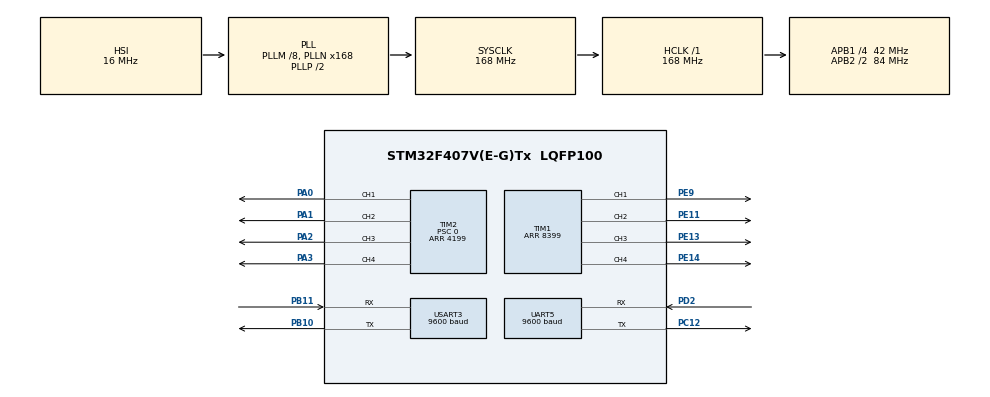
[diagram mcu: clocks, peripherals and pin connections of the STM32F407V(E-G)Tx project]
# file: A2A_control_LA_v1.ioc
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Mcu.Family=STM32F4
Mcu.Name=STM32F407V(E-G)Tx
Mcu.Package=LQFP100
NVIC.PriorityGroup=NVIC_PRIORITYGROUP_4
PA0-WKUP.Signal=S_TIM2_CH1_ETR
PA1.Signal=S_TIM2_CH2
PA2.Signal=S_TIM2_CH3
PA3.Signal=S_TIM2_CH4
PB10.Mode=Asynchronous
PB10.Signal=USART3_TX
PB11.Mode=Asynchronous
PB11.Signal=USART3_RX
PC12.Mode=Asynchronous
PC12.Signal=UART5_TX
PD2.Mode=Asynchronous
PD2.Signal=UART5_RX
PE11.Signal=S_TIM1_CH2
PE13.Signal=S_TIM1_CH3
PE14.Signal=S_TIM1_CH4
PE9.Signal=S_TIM1_CH1
ProjectManager.HeapSize=0x200
ProjectManager.StackSize=0x400
ProjectManager.TargetToolchain=STM32CubeIDE
RCC.48MHZClocksFreq_Value=84000000
RCC.AHBFreq_Value=168000000
RCC.APB1CLKDivider=RCC_HCLK_DIV4
RCC.APB1Freq_Value=42000000
RCC.APB1TimFreq_Value=84000000
RCC.APB2CLKDivider=RCC_HCLK_DIV2
RCC.APB2Freq_Value=84000000
RCC.APB2TimFreq_Value=168000000
RCC.CortexFreq_Value=168000000
RCC.HCLKFreq_Value=168000000
RCC.HSE_VALUE=25000000
RCC.HSI_VALUE=16000000
RCC.LSE_VALUE=32768
RCC.PLLM=8
RCC.PLLN=168
RCC.SYSCLKFreq_VALUE=168000000
RCC.SYSCLKSource=RCC_SYSCLKSOURCE_PLLCLK
RCC.VCOOutputFreq_Value=336000000
SH.S_TIM1_CH1.0=TIM1_CH1,PWM Generation1 CH1
SH.S_TIM1_CH2.0=TIM1_CH2,PWM Generation2 CH2
SH.S_TIM1_CH3.0=TIM1_CH3,PWM Generation3 CH3
SH.S_TIM1_CH4.0=TIM1_CH4,PWM Generation4 CH4
SH.S_TIM2_CH1_ETR.0=TIM2_CH1,PWM Generation1 CH1
SH.S_TIM2_CH2.0=TIM2_CH2,PWM Generation2 CH2
SH.S_TIM2_CH3.0=TIM2_CH3,PWM Generation3 CH3
SH.S_TIM2_CH4.0=TIM2_CH4,PWM Generation4 CH4
TIM1.AutoReloadPreload=TIM_AUTORELOAD_PRELOAD_ENABLE
TIM1.Channel-PWM\ Generation1\ CH1=TIM_CHANNEL_1
TIM1.Channel-PWM\ Generation2\ CH2=TIM_CHANNEL_2
TIM1.Channel-PWM\ Generation3\ CH3=TIM_CHANNEL_3
TIM1.Channel-PWM\ Generation4\ CH4=TIM_CHANNEL_4
TIM1.Period=8399
TIM2.AutoReloadPreload=TIM_AUTORELOAD_PRELOAD_ENABLE
TIM2.Channel-PWM\ Generation1\ CH1=TIM_CHANNEL_1
TIM2.Channel-PWM\ Generation2\ CH2=TIM_CHANNEL_2
TIM2.Channel-PWM\ Generation3\ CH3=TIM_CHANNEL_3
TIM2.Channel-PWM\ Generation4\ CH4=TIM_CHANNEL_4
TIM2.Period=4199
TIM2.Prescaler=0
UART5.BaudRate=9600
UART5.VirtualMode=Asynchronous
USART3.BaudRate=9600
USART3.VirtualMode=VM_ASYNC
VP_TIM1_VS_ClockSourceINT.Mode=Internal
VP_TIM2_VS_ClockSourceINT.Mode=Internal
board=custom

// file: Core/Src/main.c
/* USER CODE BEGIN Header */
/**
  ******************************************************************************
  * @file           : main.c
  * @brief          : Main program body
  ******************************************************************************
  * @attention
  *
  * Copyright (c) 2025 STMicroelectronics.
  * All rights reserved.
  *
  * This software is licensed under terms that can be found in the LICENSE file
  * in the root directory of this software component.
  * If no LICENSE file comes with this software, it is provided AS-IS.
  *
  ******************************************************************************
  */
/* USER CODE END Header */
#include "main.h"

/* USER CODE BEGIN Includes */
#include <string.h>
/* USER CODE END Includes */

TIM_HandleTypeDef htim1;
TIM_HandleTypeDef htim2;

UART_HandleTypeDef huart5;
UART_HandleTypeDef huart3;

/* USER CODE BEGIN PV */
#define PCT_DEFAULT 20
/* USER CODE END PV */

void SystemClock_Config(void);
static void MX_GPIO_Init(void);
static void MX_TIM1_Init(void);
static void MX_TIM2_Init(void);
static void MX_UART5_Init(void);
static void MX_USART3_UART_Init(void);
/* USER CODE BEGIN PFP */
void movimiento(char cmd, uint8_t pct);
/* USER CODE END PFP */

int main(void)
{

  /* MCU Configuration--------------------------------------------------------*/

  /* Reset of all peripherals, Initializes the Flash interface and the Systick. */
  HAL_Init();

  /* Configure the system clock */
  SystemClock_Config();

  /* Initialize all configured peripherals */
  MX_GPIO_Init();
  MX_TIM1_Init();
  MX_TIM2_Init();
  MX_UART5_Init();
  MX_USART3_UART_Init();
  /* USER CODE BEGIN 2 */
  HAL_TIM_PWM_Start_IT(&htim1, TIM_CHANNEL_1);
  HAL_TIM_PWM_Start_IT(&htim1, TIM_CHANNEL_2);
  HAL_TIM_PWM_Start_IT(&htim1, TIM_CHANNEL_3);
  HAL_TIM_PWM_Start_IT(&htim1, TIM_CHANNEL_4);
  __HAL_TIM_SET_COMPARE(&htim1, TIM_CHANNEL_1, 0);
  __HAL_TIM_SET_COMPARE(&htim1, TIM_CHANNEL_2, 0);
  __HAL_TIM_SET_COMPARE(&htim1, TIM_CHANNEL_3, 0);
  __HAL_TIM_SET_COMPARE(&htim1, TIM_CHANNEL_4, 0);

  HAL_TIM_PWM_Start_IT(&htim2, TIM_CHANNEL_1);
  HAL_TIM_PWM_Start_IT(&htim2, TIM_CHANNEL_2);
  HAL_TIM_PWM_Start_IT(&htim2, TIM_CHANNEL_3);
  HAL_TIM_PWM_Start_IT(&htim2, TIM_CHANNEL_4);
  __HAL_TIM_SET_COMPARE(&htim2, TIM_CHANNEL_1, 0);
  __HAL_TIM_SET_COMPARE(&htim2, TIM_CHANNEL_2, 0);
  __HAL_TIM_SET_COMPARE(&htim2, TIM_CHANNEL_3, 0);
  __HAL_TIM_SET_COMPARE(&htim2, TIM_CHANNEL_4, 0);

  /* Estado inicial: detenido */
  movimiento('e', 0);
  /* USER CODE END 2 */

  /* Infinite loop */
  /* USER CODE BEGIN WHILE */
  while (1)
  {
	  char rx;
	      if (HAL_UART_Receive(&huart5, (uint8_t*)&rx, 1, HAL_MAX_DELAY) == HAL_OK)
	      {
	          movimiento(rx, PCT_DEFAULT);

	          // eco en Bluetooth (UART5)
	          (void)HAL_UART_Transmit(&huart5, (uint8_t*)&rx, 1, 50);

	          // reenvío por UART1 (115200)
	          (void)HAL_UART_Transmit(&huart3, (uint8_t*)&rx, 1, 50);
	      }
    /* USER CODE END WHILE */

  }
}

void SystemClock_Config(void)
{
  RCC_OscInitTypeDef RCC_OscInitStruct = {0};
  RCC_ClkInitTypeDef RCC_ClkInitStruct = {0};

  /** Configure the main internal regulator output voltage
  */
  __HAL_RCC_PWR_CLK_ENABLE();
  __HAL_PWR_VOLTAGESCALING_CONFIG(PWR_REGULATOR_VOLTAGE_SCALE1);

  /** Initializes the RCC Oscillators according to the specified parameters
  * in the RCC_OscInitTypeDef structure.
  */
  RCC_OscInitStruct.OscillatorType = RCC_OSCILLATORTYPE_HSI;
  RCC_OscInitStruct.HSIState = RCC_HSI_ON;
  RCC_OscInitStruct.HSICalibrationValue = RCC_HSICALIBRATION_DEFAULT;
  RCC_OscInitStruct.PLL.PLLState = RCC_PLL_ON;
  RCC_OscInitStruct.PLL.PLLSource = RCC_PLLSOURCE_HSI;
  RCC_OscInitStruct.PLL.PLLM = 8;
  RCC_OscInitStruct.PLL.PLLN = 168;
  RCC_OscInitStruct.PLL.PLLP = RCC_PLLP_DIV2;
  RCC_OscInitStruct.PLL.PLLQ = 4;
  if (HAL_RCC_OscConfig(&RCC_OscInitStruct) != HAL_OK)
  {
    Error_Handler();
  }

  /** Initializes the CPU, AHB and APB buses clocks
  */
  RCC_ClkInitStruct.ClockType = RCC_CLOCKTYPE_HCLK|RCC_CLOCKTYPE_SYSCLK
                              |RCC_CLOCKTYPE_PCLK1|RCC_CLOCKTYPE_PCLK2;
  RCC_ClkInitStruct.SYSCLKSource = RCC_SYSCLKSOURCE_PLLCLK;
  RCC_ClkInitStruct.AHBCLKDivider = RCC_SYSCLK_DIV1;
  RCC_ClkInitStruct.APB1CLKDivider = RCC_HCLK_DIV4;
  RCC_ClkInitStruct.APB2CLKDivider = RCC_HCLK_DIV2;

  if (HAL_RCC_ClockConfig(&RCC_ClkInitStruct, FLASH_LATENCY_5) != HAL_OK)
  {
    Error_Handler();
  }
}

static void MX_TIM1_Init(void)
{

  TIM_ClockConfigTypeDef sClockSourceConfig = {0};
  TIM_MasterConfigTypeDef sMasterConfig = {0};
  TIM_OC_InitTypeDef sConfigOC = {0};
  TIM_BreakDeadTimeConfigTypeDef sBreakDeadTimeConfig = {0};

  htim1.Instance = TIM1;
  htim1.Init.Prescaler = 0;
  htim1.Init.CounterMode = TIM_COUNTERMODE_UP;
  htim1.Init.Period = 8399;
  htim1.Init.ClockDivision = TIM_CLOCKDIVISION_DIV1;
  htim1.Init.RepetitionCounter = 0;
  htim1.Init.AutoReloadPreload = TIM_AUTORELOAD_PRELOAD_ENABLE;
  if (HAL_TIM_Base_Init(&htim1) != HAL_OK)
  {
    Error_Handler();
  }
  sClockSourceConfig.ClockSource = TIM_CLOCKSOURCE_INTERNAL;
  if (HAL_TIM_ConfigClockSource(&htim1, &sClockSourceConfig) != HAL_OK)
  {
    Error_Handler();
  }
  if (HAL_TIM_PWM_Init(&htim1) != HAL_OK)
  {
    Error_Handler();
  }
  sMasterConfig.MasterOutputTrigger = TIM_TRGO_RESET;
  sMasterConfig.MasterSlaveMode = TIM_MASTERSLAVEMODE_DISABLE;
  if (HAL_TIMEx_MasterConfigSynchronization(&htim1, &sMasterConfig) != HAL_OK)
  {
    Error_Handler();
  }
  sConfigOC.OCMode = TIM_OCMODE_PWM1;
  sConfigOC.Pulse = 0;
  sConfigOC.OCPolarity = TIM_OCPOLARITY_HIGH;
  sConfigOC.OCNPolarity = TIM_OCNPOLARITY_HIGH;
  sConfigOC.OCFastMode = TIM_OCFAST_DISABLE;
  sConfigOC.OCIdleState = TIM_OCIDLESTATE_RESET;
  sConfigOC.OCNIdleState = TIM_OCNIDLESTATE_RESET;
  if (HAL_TIM_PWM_ConfigChannel(&htim1, &sConfigOC, TIM_CHANNEL_1) != HAL_OK)
  {
    Error_Handler();
  }
  if (HAL_TIM_PWM_ConfigChannel(&htim1, &sConfigOC, TIM_CHANNEL_2) != HAL_OK)
  {
    Error_Handler();
  }
  if (HAL_TIM_PWM_ConfigChannel(&htim1, &sConfigOC, TIM_CHANNEL_3) != HAL_OK)
  {
    Error_Handler();
  }
  if (HAL_TIM_PWM_ConfigChannel(&htim1, &sConfigOC, TIM_CHANNEL_4) != HAL_OK)
  {
    Error_Handler();
  }
  sBreakDeadTimeConfig.OffStateRunMode = TIM_OSSR_DISABLE;
  sBreakDeadTimeConfig.OffStateIDLEMode = TIM_OSSI_DISABLE;
  sBreakDeadTimeConfig.LockLevel = TIM_LOCKLEVEL_OFF;
  sBreakDeadTimeConfig.DeadTime = 0;
  sBreakDeadTimeConfig.BreakState = TIM_BREAK_DISABLE;
  sBreakDeadTimeConfig.BreakPolarity = TIM_BREAKPOLARITY_HIGH;
  sBreakDeadTimeConfig.AutomaticOutput = TIM_AUTOMATICOUTPUT_DISABLE;
  if (HAL_TIMEx_ConfigBreakDeadTime(&htim1, &sBreakDeadTimeConfig) != HAL_OK)
  {
    Error_Handler();
  }
  HAL_TIM_MspPostInit(&htim1);

}

static void MX_TIM2_Init(void)
{

  TIM_ClockConfigTypeDef sClockSourceConfig = {0};
  TIM_MasterConfigTypeDef sMasterConfig = {0};
  TIM_OC_InitTypeDef sConfigOC = {0};

  htim2.Instance = TIM2;
  htim2.Init.Prescaler = 0;
  htim2.Init.CounterMode = TIM_COUNTERMODE_UP;
  htim2.Init.Period = 4199;
  htim2.Init.ClockDivision = TIM_CLOCKDIVISION_DIV1;
  htim2.Init.AutoReloadPreload = TIM_AUTORELOAD_PRELOAD_ENABLE;
  if (HAL_TIM_Base_Init(&htim2) != HAL_OK)
  {
    Error_Handler();
  }
  sClockSourceConfig.ClockSource = TIM_CLOCKSOURCE_INTERNAL;
  if (HAL_TIM_ConfigClockSource(&htim2, &sClockSourceConfig) != HAL_OK)
  {
    Error_Handler();
  }
  if (HAL_TIM_PWM_Init(&htim2) != HAL_OK)
  {
    Error_Handler();
  }
  sMasterConfig.MasterOutputTrigger = TIM_TRGO_RESET;
  sMasterConfig.MasterSlaveMode = TIM_MASTERSLAVEMODE_DISABLE;
  if (HAL_TIMEx_MasterConfigSynchronization(&htim2, &sMasterConfig) != HAL_OK)
  {
    Error_Handler();
  }
  sConfigOC.OCMode = TIM_OCMODE_PWM1;
  sConfigOC.Pulse = 0;
  sConfigOC.OCPolarity = TIM_OCPOLARITY_HIGH;
  sConfigOC.OCFastMode = TIM_OCFAST_DISABLE;
  if (HAL_TIM_PWM_ConfigChannel(&htim2, &sConfigOC, TIM_CHANNEL_1) != HAL_OK)
  {
    Error_Handler();
  }
  if (HAL_TIM_PWM_ConfigChannel(&htim2, &sConfigOC, TIM_CHANNEL_2) != HAL_OK)
  {
    Error_Handler();
  }
  if (HAL_TIM_PWM_ConfigChannel(&htim2, &sConfigOC, TIM_CHANNEL_3) != HAL_OK)
  {
    Error_Handler();
  }
  if (HAL_TIM_PWM_ConfigChannel(&htim2, &sConfigOC, TIM_CHANNEL_4) != HAL_OK)
  {
    Error_Handler();
  }
  HAL_TIM_MspPostInit(&htim2);

}

static void MX_UART5_Init(void)
{

  huart5.Instance = UART5;
  huart5.Init.BaudRate = 9600;
  huart5.Init.WordLength = UART_WORDLENGTH_8B;
  huart5.Init.StopBits = UART_STOPBITS_1;
  huart5.Init.Parity = UART_PARITY_NONE;
  huart5.Init.Mode = UART_MODE_TX_RX;
  huart5.Init.HwFlowCtl = UART_HWCONTROL_NONE;
  huart5.Init.OverSampling = UART_OVERSAMPLING_16;
  if (HAL_UART_Init(&huart5) != HAL_OK)
  {
    Error_Handler();
  }

}

static void MX_USART3_UART_Init(void)
{

  huart3.Instance = USART3;
  huart3.Init.BaudRate = 9600;
  huart3.Init.WordLength = UART_WORDLENGTH_8B;
  huart3.Init.StopBits = UART_STOPBITS_1;
  huart3.Init.Parity = UART_PARITY_NONE;
  huart3.Init.Mode = UART_MODE_TX_RX;
  huart3.Init.HwFlowCtl = UART_HWCONTROL_NONE;
  huart3.Init.OverSampling = UART_OVERSAMPLING_16;
  if (HAL_UART_Init(&huart3) != HAL_OK)
  {
    Error_Handler();
  }

}

static void MX_GPIO_Init(void)
{

  /* GPIO Ports Clock Enable */
  __HAL_RCC_GPIOA_CLK_ENABLE();
  __HAL_RCC_GPIOE_CLK_ENABLE();
  __HAL_RCC_GPIOB_CLK_ENABLE();
  __HAL_RCC_GPIOC_CLK_ENABLE();
  __HAL_RCC_GPIOD_CLK_ENABLE();

}

/* USER CODE BEGIN 4 */
static inline uint16_t pct_to_ccr(TIM_HandleTypeDef *htim, uint8_t pct)
{
  if (pct > 100) pct = 100;
  uint32_t arr = __HAL_TIM_GET_AUTORELOAD(htim);   // Period (ARR)
  // CCR en rango [0..ARR]. 100% → ARR (duty continuo).
  uint32_t ccr = (arr * (uint32_t)pct) / 100U;
  if (ccr > arr) ccr = arr;
  return (uint16_t)ccr;
}

void movimiento(char str, uint8_t pct)
{
  /* Calcula CCR para cada timer de forma independiente */
  const uint16_t spd1 = pct_to_ccr(&htim1, pct);  // para TIM1
  const uint16_t spd2 = pct_to_ccr(&htim2, pct);  // para TIM2

  /* Primero, libera todos los motores (duty=0) */
  // Motor 1
  __HAL_TIM_SET_COMPARE(&htim1, TIM_CHANNEL_1, 0);
  __HAL_TIM_SET_COMPARE(&htim1, TIM_CHANNEL_2, 0);
  // Motor 2
  __HAL_TIM_SET_COMPARE(&htim1, TIM_CHANNEL_3, 0);
  __HAL_TIM_SET_COMPARE(&htim1, TIM_CHANNEL_4, 0);
  // Motor 3
  __HAL_TIM_SET_COMPARE(&htim2, TIM_CHANNEL_1, 0);
  __HAL_TIM_SET_COMPARE(&htim2, TIM_CHANNEL_2, 0);
  // Motor 4
  __HAL_TIM_SET_COMPARE(&htim2, TIM_CHANNEL_3, 0);
  __HAL_TIM_SET_COMPARE(&htim2, TIM_CHANNEL_4, 0);

  HAL_Delay(5);              // dead-time corto opcional
  if (str == 'e' || pct == 0) return;

  /* Adelante: 'b' */
  if (str == 'b')
  {
    // M1
    __HAL_TIM_SET_COMPARE(&htim1, TIM_CHANNEL_1, spd1);
    __HAL_TIM_SET_COMPARE(&htim1, TIM_CHANNEL_2, 0);
    // M2
    __HAL_TIM_SET_COMPARE(&htim1, TIM_CHANNEL_3, spd1);
    __HAL_TIM_SET_COMPARE(&htim1, TIM_CHANNEL_4, 0);
    // M3
    __HAL_TIM_SET_COMPARE(&htim2, TIM_CHANNEL_1, spd2);
    __HAL_TIM_SET_COMPARE(&htim2, TIM_CHANNEL_2, 0);
    // M4
    __HAL_TIM_SET_COMPARE(&htim2, TIM_CHANNEL_3, spd2);
    __HAL_TIM_SET_COMPARE(&htim2, TIM_CHANNEL_4, 0);
    return;
  }

  /* Atrás: 'h' */
  if (str == 'h')
  {
    __HAL_TIM_SET_COMPARE(&htim1, TIM_CHANNEL_1, 0);
    __HAL_TIM_SET_COMPARE(&htim1, TIM_CHANNEL_2, spd1);
    __HAL_TIM_SET_COMPARE(&htim1, TIM_CHANNEL_3, 0);
    __HAL_TIM_SET_COMPARE(&htim1, TIM_CHANNEL_4, spd1);

    __HAL_TIM_SET_COMPARE(&htim2, TIM_CHANNEL_1, 0);
    __HAL_TIM_SET_COMPARE(&htim2, TIM_CHANNEL_2, spd2);
    __HAL_TIM_SET_COMPARE(&htim2, TIM_CHANNEL_3, 0);
    __HAL_TIM_SET_COMPARE(&htim2, TIM_CHANNEL_4, spd2);
    return;
  }

  /* Rotación horario: 'j' */
  if (str == 'j')
  {
    __HAL_TIM_SET_COMPARE(&htim1, TIM_CHANNEL_1, spd1);
    __HAL_TIM_SET_COMPARE(&htim1, TIM_CHANNEL_2, 0);
    __HAL_TIM_SET_COMPARE(&htim1, TIM_CHANNEL_3, 0);
    __HAL_TIM_SET_COMPARE(&htim1, TIM_CHANNEL_4, spd1);

    __HAL_TIM_SET_COMPARE(&htim2, TIM_CHANNEL_1, spd2);
    __HAL_TIM_SET_COMPARE(&htim2, TIM_CHANNEL_2, 0);
    __HAL_TIM_SET_COMPARE(&htim2, TIM_CHANNEL_3, 0);
    __HAL_TIM_SET_COMPARE(&htim2, TIM_CHANNEL_4, spd2);
    return;
  }

  /* Rotación antihorario: 'k' */
  if (str == 'k')
  {
    __HAL_TIM_SET_COMPARE(&htim1, TIM_CHANNEL_1, 0);
    __HAL_TIM_SET_COMPARE(&htim1, TIM_CHANNEL_2, spd1);
    __HAL_TIM_SET_COMPARE(&htim1, TIM_CHANNEL_3, spd1);
    __HAL_TIM_SET_COMPARE(&htim1, TIM_CHANNEL_4, 0);

    __HAL_TIM_SET_COMPARE(&htim2, TIM_CHANNEL_1, 0);
    __HAL_TIM_SET_COMPARE(&htim2, TIM_CHANNEL_2, spd2);
    __HAL_TIM_SET_COMPARE(&htim2, TIM_CHANNEL_3, spd2);
    __HAL_TIM_SET_COMPARE(&htim2, TIM_CHANNEL_4, 0);
    return;
  }

  /* Adelante 45° derecha: 'c' */
  if (str == 'c')
  {
    __HAL_TIM_SET_COMPARE(&htim1, TIM_CHANNEL_1, spd1);
    __HAL_TIM_SET_COMPARE(&htim1, TIM_CHANNEL_2, 0);
    __HAL_TIM_SET_COMPARE(&htim2, TIM_CHANNEL_3, spd2);
    __HAL_TIM_SET_COMPARE(&htim2, TIM_CHANNEL_4, 0);
    return;
  }

  /* Adelante 45° izquierda: 'a' */
  if (str == 'a')
  {
    __HAL_TIM_SET_COMPARE(&htim1, TIM_CHANNEL_3, spd1);
    __HAL_TIM_SET_COMPARE(&htim1, TIM_CHANNEL_4, 0);
    __HAL_TIM_SET_COMPARE(&htim2, TIM_CHANNEL_1, spd2);
    __HAL_TIM_SET_COMPARE(&htim2, TIM_CHANNEL_2, 0);
    return;
  }

  /* Atrás 45° izquierda: 'g' */
  if (str == 'g')
  {
    __HAL_TIM_SET_COMPARE(&htim1, TIM_CHANNEL_1, 0);
    __HAL_TIM_SET_COMPARE(&htim1, TIM_CHANNEL_2, spd1);
    __HAL_TIM_SET_COMPARE(&htim2, TIM_CHANNEL_3, 0);
    __HAL_TIM_SET_COMPARE(&htim2, TIM_CHANNEL_4, spd2);
    return;
  }

  /* Atrás 45° derecha: 'i' */
  if (str == 'i')
  {
    __HAL_TIM_SET_COMPARE(&htim1, TIM_CHANNEL_3, 0);
    __HAL_TIM_SET_COMPARE(&htim1, TIM_CHANNEL_4, spd1);
    __HAL_TIM_SET_COMPARE(&htim2, TIM_CHANNEL_1, 0);
    __HAL_TIM_SET_COMPARE(&htim2, TIM_CHANNEL_2, spd2);
    return;
  }

  /* Derecha pura: 'f' */
  if (str == 'f')
  {
    __HAL_TIM_SET_COMPARE(&htim1, TIM_CHANNEL_1, spd1);
    __HAL_TIM_SET_COMPARE(&htim1, TIM_CHANNEL_2, 0);
    __HAL_TIM_SET_COMPARE(&htim1, TIM_CHANNEL_3, 0);
    __HAL_TIM_SET_COMPARE(&htim1, TIM_CHANNEL_4, spd1);

    __HAL_TIM_SET_COMPARE(&htim2, TIM_CHANNEL_1, 0);
    __HAL_TIM_SET_COMPARE(&htim2, TIM_CHANNEL_2, spd2);
    __HAL_TIM_SET_COMPARE(&htim2, TIM_CHANNEL_3, spd2);
    __HAL_TIM_SET_COMPARE(&htim2, TIM_CHANNEL_4, 0);
    return;
  }

  /* Izquierda pura: 'd' */
  if (str == 'd')
  {
    __HAL_TIM_SET_COMPARE(&htim1, TIM_CHANNEL_1, 0);
    __HAL_TIM_SET_COMPARE(&htim1, TIM_CHANNEL_2, spd1);
    __HAL_TIM_SET_COMPARE(&htim1, TIM_CHANNEL_3, spd1);
    __HAL_TIM_SET_COMPARE(&htim1, TIM_CHANNEL_4, 0);

    __HAL_TIM_SET_COMPARE(&htim2, TIM_CHANNEL_1, spd2);
    __HAL_TIM_SET_COMPARE(&htim2, TIM_CHANNEL_2, 0);
    __HAL_TIM_SET_COMPARE(&htim2, TIM_CHANNEL_3, 0);
    __HAL_TIM_SET_COMPARE(&htim2, TIM_CHANNEL_4, spd2);
    return;
  }

  /* Cualquier otra letra: detenido */
}
/* USER CODE END 4 */

void Error_Handler(void)
{
  __disable_irq();
  while (1)
  {
  }
}
